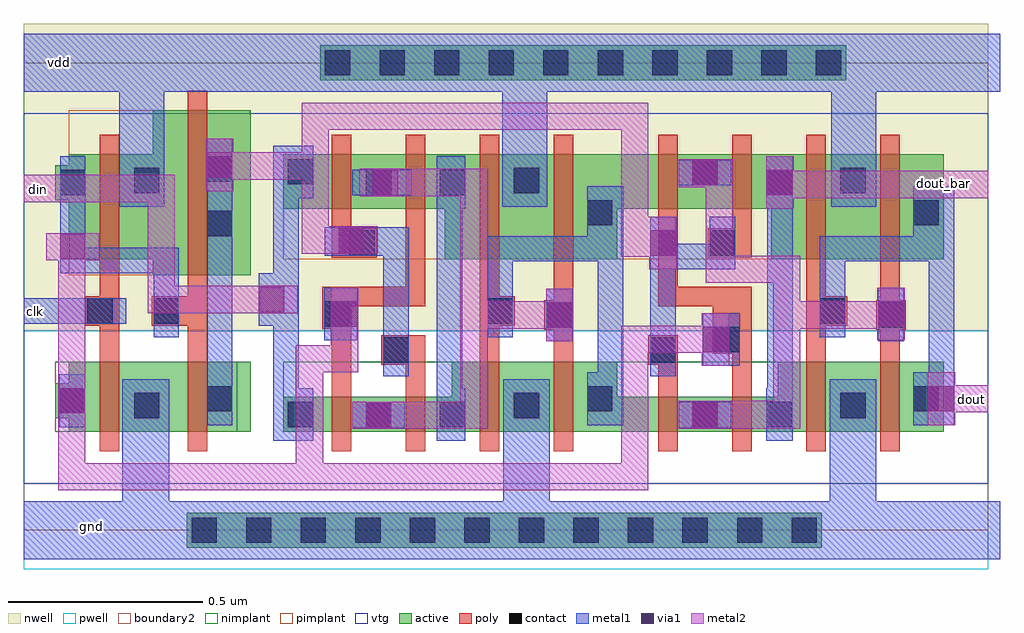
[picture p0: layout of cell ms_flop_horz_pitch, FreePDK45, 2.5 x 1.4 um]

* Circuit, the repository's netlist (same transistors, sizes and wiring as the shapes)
************************************************************************
* auCdl Netlist:
* 
* Library Name:  openram
* Top Cell Name: ms_flop_horz_pitch
* View Name:     schematic
* Netlisted on:  Jan 27 06:03:16 2021
************************************************************************

*.EQUATION
*.SCALE METER
*.MEGA
.PARAM



************************************************************************
* Library Name: openram
* Cell Name:    dlatch_clk_clk_bar_horz
* View Name:    schematic
************************************************************************

.SUBCKT dlatch_clk_clk_bar_horz clk clk_bar din dout dout_bar gnd vdd
MM4 int clk_bar din gnd NMOS_VTG W=90n L=50n m=1
MM2 int clk dout gnd NMOS_VTG W=90n L=50n m=1
MM0 dout dout_bar gnd gnd NMOS_VTG W=180.0n L=50n m=1
MM12 dout_bar int gnd gnd NMOS_VTG W=180.0n L=50n m=1
MM5 int clk din vdd PMOS_VTG W=140.0n L=50n m=1
MM3 int clk_bar dout vdd PMOS_VTG W=140.0n L=50n m=1
MM1 dout dout_bar vdd vdd PMOS_VTG W=270.0n L=50n m=1
MM11 dout_bar int vdd vdd PMOS_VTG W=270.0n L=50n m=1
.ENDS

************************************************************************
* Library Name: openram
* Cell Name:    ms_flop_horz_pitch
* View Name:    schematic
************************************************************************

.SUBCKT ms_flop_horz_pitch din dout dout_bar clk vdd gnd
MM1 clk_buf clk_bar gnd gnd NMOS_VTG W=90n L=50n m=2
MM12 clk_bar clk gnd gnd NMOS_VTG W=90n L=50n m=2
MM0 clk_buf clk_bar vdd vdd PMOS_VTG W=425.00n L=50n m=1
MM11 clk_bar clk vdd vdd PMOS_VTG W=135.00n L=50n m=2
XI1 clk_bar clk_buf mout_bar dout_bar dout gnd vdd / dlatch_clk_clk_bar_horz
XI0 clk_buf clk_bar din mout mout_bar gnd vdd / dlatch_clk_clk_bar_horz
.ENDS

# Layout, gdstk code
from math import pi, radians
import gdstk
lib = gdstk.Library(unit=1e-6, precision=5e-10)
def R(c, l, rs):  # rectangles x0, y0, x1, y1
    for r in rs: c.add(gdstk.rectangle(r[:2], r[2:], *l))
def A(c, l, x, y, w, h, nx, ny, dx, dy):  # array of equal rectangles
    R(c, l, [(x+i*dx, y+j*dy, x+i*dx+w, y+j*dy+h) for i in range(nx) for j in range(ny)])
active = (1, 0)
pwell = (2, 0)
nwell = (3, 0)
nimplant = (4, 0)
pimplant = (5, 0)
vtg = (6, 0)
poly = (9, 0)
contact = (10, 0)
metal1 = (11, 0)
via1 = (12, 0)
metal2 = (13, 0)
boundary2 = (239, 0)

m1_p_cdns_611716631340 = lib.new_cell('M1_P_CDNS_611716631340')
R(m1_p_cdns_611716631340, active, [(-0.045,-0.045,0.045,0.045)])
R(m1_p_cdns_611716631340, pimplant, [(-0.045,-0.045,0.045,0.045)])
R(m1_p_cdns_611716631340, contact, [(-0.0325,-0.0325,0.0325,0.0325)])
R(m1_p_cdns_611716631340, metal1, [(-0.0325,-0.0675,0.0325,0.0675)])

m1_poly_cdns_61171663134 = lib.new_cell('M1_POLY_CDNS_611716631341')
R(m1_poly_cdns_61171663134, poly, [(-0.0375,-0.0375,0.0375,0.0375)])
R(m1_poly_cdns_61171663134, contact, [(-0.0325,-0.0325,0.0325,0.0325)])
R(m1_poly_cdns_61171663134, metal1, [(-0.0325,-0.0675,0.0325,0.0675)])

m1_n_cdns_611716631342 = lib.new_cell('M1_N_CDNS_611716631342')
R(m1_n_cdns_611716631342, active, [(-0.045,-0.045,0.045,0.045)])
R(m1_n_cdns_611716631342, nimplant, [(-0.045,-0.045,0.045,0.045)])
R(m1_n_cdns_611716631342, contact, [(-0.0325,-0.0325,0.0325,0.0325)])
R(m1_n_cdns_611716631342, metal1, [(-0.0325,-0.0675,0.0325,0.0675)])

m2_m1_cdns_611716631343 = lib.new_cell('M2_M1_CDNS_611716631343')
R(m2_m1_cdns_611716631343, metal1, [(-0.0325,-0.0675,0.0325,0.0675)])
R(m2_m1_cdns_611716631343, via1, [(-0.0325,-0.0325,0.0325,0.0325)])
R(m2_m1_cdns_611716631343, metal2, [(-0.0675,-0.035,0.0675,0.035)])

m2_m1_cdns_611716631344 = lib.new_cell('M2_M1_CDNS_611716631344')
R(m2_m1_cdns_611716631344, metal1, [(-0.0325,-0.0675,0.0325,0.0675)])
R(m2_m1_cdns_611716631344, via1, [(-0.0325,-0.0325,0.0325,0.0325)])
R(m2_m1_cdns_611716631344, metal2, [(-0.035,-0.0675,0.035,0.0675)])

m1_p_cdns_611716631345 = lib.new_cell('M1_P_CDNS_611716631345')
R(m1_p_cdns_611716631345, active, [(-0.045,-0.115,0.045,0.115)])
R(m1_p_cdns_611716631345, pimplant, [(-0.045,-0.115,0.045,0.115)])
R(m1_p_cdns_611716631345, contact, [(-0.0325,-0.1025,0.0325,-0.0375), (-0.0325,0.0375,0.0325,0.1025)])
R(m1_p_cdns_611716631345, metal1, [(-0.0325,-0.1375,0.0325,0.1375)])

ntap_cdns_611716631346 = lib.new_cell('NTAP_CDNS_611716631346')
R(ntap_cdns_611716631346, active, [(-0.045,-0.675,0.045,0.675)])
R(ntap_cdns_611716631346, nwell, [(-0.1,-0.73,0.1,0.73)])
R(ntap_cdns_611716631346, nimplant, [(-0.045,-0.675,0.045,0.675)])
A(ntap_cdns_611716631346, contact, -0.0325, -0.6625, 0.065, 0.065, 1, 10, 0, 0.14)
R(ntap_cdns_611716631346, metal1, [(-0.0325,-0.6975,0.0325,0.6975)])

ptap_cdns_611716631347 = lib.new_cell('PTAP_CDNS_611716631347')
R(ptap_cdns_611716631347, active, [(-0.045,-0.815,0.045,0.815)])
R(ptap_cdns_611716631347, pwell, [(-0.1,-0.87,0.1,0.87)])
R(ptap_cdns_611716631347, pimplant, [(-0.045,-0.815,0.045,0.815)])
A(ptap_cdns_611716631347, contact, -0.0325, -0.8025, 0.065, 0.065, 1, 12, 0, 0.14)
R(ptap_cdns_611716631347, metal1, [(-0.0325,-0.8375,0.0325,0.8375)])

ms_flop_horz_pitch = lib.new_cell('ms_flop_horz_pitch')
R(ms_flop_horz_pitch, active, [(0.115,0.2525,0.5825,0.4325), (0.6775,0.2525,1.1425,0.3425), (1.0975,0.2525,1.5225,0.4325), (1.515,0.2525,1.98,0.3425), (1.935,0.2525,2.36,0.4325), (0.33,0.655,0.5825,1.0775), (0.115,0.695,0.5825,0.965), (1.08,0.695,1.5225,0.965), (1.9175,0.695,2.36,0.965), (0.665,0.825,1.155,0.965), (1.5025,0.825,1.9925,0.965)])
R(ms_flop_horz_pitch, pwell, [(0,-0.1,2.475,0.5125)])
R(ms_flop_horz_pitch, nwell, [(0,0.5125,2.475,1.3)])
R(ms_flop_horz_pitch, nimplant, [(0.08,0.2525,0.5475,0.4325), (0.665,0.2525,1.5225,0.4325), (1.5025,0.2525,2.36,0.4325)])
R(ms_flop_horz_pitch, pimplant, [(0.115,0.655,0.5825,1.0775), (0.665,0.695,1.5225,0.965), (1.5025,0.695,2.36,0.965)])
R(ms_flop_horz_pitch, vtg, [(0,0.12,2.475,1.07)])
R(ms_flop_horz_pitch, poly, [(0.195,0.2025,0.245,1.015), (0.42,0.2025,0.47,1.1275), (0.79,0.2025,0.84,0.625), (0.98,0.2025,1.03,0.5), (1.17,0.2025,1.22,1.015), (1.36,0.2025,1.41,1.015), (1.6275,0.2025,1.6775,0.5), (1.8175,0.2025,1.8675,0.6225), (2.0075,0.2025,2.0575,1.015), (2.1975,0.2025,2.2475,1.015), (1.7675,0.4775,1.8425,0.6), (0.3275,0.525,0.45,0.6), (0.765,0.5625,0.84,0.625), (0.7725,0.575,1.03,0.625), (1.6275,0.575,1.8675,0.625), (1.6275,0.6175,1.6775,1.015), (0.98,0.62,1.03,1.015), (0.79,0.7,0.84,1.015), (1.8175,0.7,1.8675,1.015)])
R(ms_flop_horz_pitch, metal1, [(0,-0.075,2.505,0.075), (0.2525,-0.04,0.3725,0.3875), (1.23,-0.04,1.35,0.3875), (2.0675,-0.04,2.1875,0.3875), (0.64,0.23,0.705,0.9875), (1.06,0.23,1.125,0.96), (1.9075,0.23,1.9725,0.96), (0.47,0.27,0.535,0.8825), (1.4725,0.27,1.5375,0.8825), (2.3225,0.27,2.3875,0.8825), (0.9225,0.465,0.9875,0.735), (1.6075,0.465,1.6725,0.735), (1.19,0.495,1.255,0.755), (2.0425,0.495,2.1075,0.755), (0,0.53,0.2375,0.595), (0.3325,0.6275,0.3975,0.725), (0.0925,0.66,0.3775,0.725), (1.6075,0.67,1.825,0.735), (1.23,0.69,1.5375,0.755), (2.0675,0.69,2.375,0.755), (0.7725,0.705,0.9875,0.7775), (0.0925,0.7275,0.1575,0.9575), (0.245,0.83,0.36,1.195), (1.2275,0.83,1.3425,1.195), (2.0725,0.83,2.1875,1.195), (0,1.125,2.505,1.275)])
R(ms_flop_horz_pitch, metal2, [(0.0875,0.1025,1.6025,0.1725), (0.0875,0.1125,0.1575,0.365), (1.5325,0.1125,1.6025,0.4825), (0.6975,0.155,0.7675,0.42), (0.91,0.26,1.1575,0.33), (1.12,0.26,1.19,0.5875), (1.68,0.26,1.9925,0.3325), (1.9225,0.26,1.9925,0.6625), (0.0875,0.3,0.1575,0.7625), (2.32,0.3025,2.475,0.3725), (0.6975,0.405,0.8575,0.475), (0.7875,0.4075,0.8575,0.6225), (1.5325,0.455,1.8075,0.525), (1.12,0.5175,1.19,0.9275), (1.145,0.5175,1.405,0.5875), (1.9725,0.5175,2.26,0.5875), (0.3175,0.5575,0.3875,0.9125), (0.3175,0.5575,0.625,0.6275), (1.75,0.635,1.9925,0.705), (1.75,0.635,1.82,0.9525), (1.5325,0.7025,1.675,0.7725), (1.5325,0.7025,1.675,0.805), (1.5325,0.705,1.6025,1.075), (0.7125,0.71,0.9075,0.78), (0.7125,0.71,0.7825,1.0925), (0,0.8425,0.3875,0.9125), (1.905,0.8525,2.475,0.9225), (0.985,0.8575,1.19,0.9275), (1.68,0.88,1.82,0.9525), (0.4875,0.9,0.7425,0.97), (0.7125,1.0275,1.6025,1.0975)])
R(ms_flop_horz_pitch, boundary2, [(0,0,2.475,1.2)])
ms_flop_horz_pitch.add(gdstk.FlexPath([(1.7925,0.7375),(1.7925,0.735)], 0.065, ends="flush", simple_path=True, layer=11, datatype=0))  # metal1
ms_flop_horz_pitch.add(gdstk.Reference(m1_p_cdns_611716631340, (1.29,0.8975), rotation=pi, x_reflection=True))
ms_flop_horz_pitch.add(gdstk.Reference(m1_p_cdns_611716631340, (1.4775,0.815), rotation=pi, x_reflection=True))
ms_flop_horz_pitch.add(gdstk.Reference(m1_p_cdns_611716631340, (1.9375,0.8925), x_reflection=True))
ms_flop_horz_pitch.add(gdstk.Reference(m1_p_cdns_611716631340, (2.1275,0.8975), rotation=pi, x_reflection=True))
ms_flop_horz_pitch.add(gdstk.Reference(m1_p_cdns_611716631340, (0.125,0.8925), x_reflection=True))
ms_flop_horz_pitch.add(gdstk.Reference(m1_p_cdns_611716631340, (2.315,0.815), rotation=pi, x_reflection=True))
ms_flop_horz_pitch.add(gdstk.Reference(m1_p_cdns_611716631340, (1.7475,0.9175), rotation=3*pi/2, x_reflection=True))
ms_flop_horz_pitch.add(gdstk.Reference(m1_p_cdns_611716631340, (0.91,0.8925), rotation=3*pi/2, x_reflection=True))
ms_flop_horz_pitch.add(gdstk.Reference(m1_p_cdns_611716631340, (0.71,0.92), x_reflection=True))
ms_flop_horz_pitch.add(gdstk.Reference(m1_p_cdns_611716631340, (1.1,0.8925), x_reflection=True))
ms_flop_horz_pitch.add(gdstk.Reference(m1_p_cdns_611716631340, (0.315,0.8975), rotation=pi, x_reflection=True))
ms_flop_horz_pitch.add(gdstk.Reference(m1_poly_cdns_61171663134, (1.3725,0.5525), rotation=pi, x_reflection=True))
ms_flop_horz_pitch.add(gdstk.Reference(m1_poly_cdns_61171663134, (1.2225,0.5625), rotation=pi, x_reflection=True))
ms_flop_horz_pitch.add(gdstk.Reference(m1_poly_cdns_61171663134, (1.64,0.4625), rotation=pi, x_reflection=True))
ms_flop_horz_pitch.add(gdstk.Reference(m1_poly_cdns_61171663134, (1.7925,0.7375), x_reflection=True))
ms_flop_horz_pitch.add(gdstk.Reference(m1_poly_cdns_61171663134, (1.805,0.49), rotation=pi, x_reflection=True))
ms_flop_horz_pitch.add(gdstk.Reference(m1_poly_cdns_61171663134, (0.8675,0.7375), rotation=pi/2, x_reflection=True))
ms_flop_horz_pitch.add(gdstk.Reference(m1_poly_cdns_61171663134, (0.955,0.4625), rotation=pi, x_reflection=True))
ms_flop_horz_pitch.add(gdstk.Reference(m1_poly_cdns_61171663134, (2.075,0.5625), rotation=pi, x_reflection=True))
ms_flop_horz_pitch.add(gdstk.Reference(m1_poly_cdns_61171663134, (0.365,0.5625), rotation=pi, x_reflection=True))
ms_flop_horz_pitch.add(gdstk.Reference(m1_poly_cdns_61171663134, (0.195,0.5625), rotation=pi/2, x_reflection=True))
ms_flop_horz_pitch.add(gdstk.Reference(m1_poly_cdns_61171663134, (0.8025,0.555), rotation=pi, x_reflection=True))
ms_flop_horz_pitch.add(gdstk.Reference(m1_poly_cdns_61171663134, (2.225,0.5525), rotation=pi, x_reflection=True))
ms_flop_horz_pitch.add(gdstk.Reference(m1_n_cdns_611716631342, (1.4775,0.3375), x_reflection=True))
ms_flop_horz_pitch.add(gdstk.Reference(m1_n_cdns_611716631342, (2.1275,0.32), x_reflection=True))
ms_flop_horz_pitch.add(gdstk.Reference(m1_n_cdns_611716631342, (0.5025,0.3375), x_reflection=True))
ms_flop_horz_pitch.add(gdstk.Reference(m1_n_cdns_611716631342, (0.315,0.32), x_reflection=True))
ms_flop_horz_pitch.add(gdstk.Reference(m1_n_cdns_611716631342, (1.29,0.32), x_reflection=True))
ms_flop_horz_pitch.add(gdstk.Reference(m1_n_cdns_611716631342, (2.315,0.3375), x_reflection=True))
ms_flop_horz_pitch.add(gdstk.Reference(m1_n_cdns_611716631342, (1.7475,0.2975), rotation=pi/2))
ms_flop_horz_pitch.add(gdstk.Reference(m1_n_cdns_611716631342, (0.125,0.3325), rotation=pi))
ms_flop_horz_pitch.add(gdstk.Reference(m1_n_cdns_611716631342, (1.9375,0.2975), rotation=pi))
ms_flop_horz_pitch.add(gdstk.Reference(m1_n_cdns_611716631342, (1.1,0.2975), rotation=pi))
ms_flop_horz_pitch.add(gdstk.Reference(m1_n_cdns_611716631342, (0.71,0.2975), rotation=pi))
ms_flop_horz_pitch.add(gdstk.Reference(m1_n_cdns_611716631342, (0.91,0.2975), rotation=pi/2))
ms_flop_horz_pitch.add(gdstk.Reference(m2_m1_cdns_611716631343, (0.635,0.5925)))
ms_flop_horz_pitch.add(gdstk.Reference(m2_m1_cdns_611716631343, (0.125,0.7275)))
ms_flop_horz_pitch.add(gdstk.Reference(m2_m1_cdns_611716631344, (2.355,0.3375)))
ms_flop_horz_pitch.add(gdstk.Reference(m2_m1_cdns_611716631344, (1.64,0.7375)))
ms_flop_horz_pitch.add(gdstk.Reference(m2_m1_cdns_611716631344, (0.1225,0.3325)))
ms_flop_horz_pitch.add(gdstk.Reference(m2_m1_cdns_611716631344, (1.7475,0.295), rotation=pi/2))
ms_flop_horz_pitch.add(gdstk.Reference(m2_m1_cdns_611716631344, (2.225,0.555)))
ms_flop_horz_pitch.add(gdstk.Reference(m2_m1_cdns_611716631344, (0.5025,0.9375)))
ms_flop_horz_pitch.add(gdstk.Reference(m2_m1_cdns_611716631344, (0.84,0.745), rotation=pi/2))
ms_flop_horz_pitch.add(gdstk.Reference(m2_m1_cdns_611716631344, (0.91,0.295), rotation=pi/2))
ms_flop_horz_pitch.add(gdstk.Reference(m2_m1_cdns_611716631344, (0.9275,0.8925), rotation=pi/2))
ms_flop_horz_pitch.add(gdstk.Reference(m2_m1_cdns_611716631344, (1.375,0.5525)))
ms_flop_horz_pitch.add(gdstk.Reference(m2_m1_cdns_611716631344, (0.8225,0.555)))
ms_flop_horz_pitch.add(gdstk.Reference(m2_m1_cdns_611716631344, (1.94,0.8925)))
ms_flop_horz_pitch.add(gdstk.Reference(m2_m1_cdns_611716631344, (1.7475,0.9175), rotation=pi/2))
ms_flop_horz_pitch.add(gdstk.Reference(m2_m1_cdns_611716631344, (1.775,0.49)))
ms_flop_horz_pitch.add(gdstk.Reference(m1_p_cdns_611716631345, (0.5025,0.8575), rotation=pi, x_reflection=True))
ms_flop_horz_pitch.add(gdstk.Reference(ntap_cdns_611716631346, (1.435,1.2), rotation=pi/2))
ms_flop_horz_pitch.add(gdstk.Reference(ptap_cdns_611716631347, (1.2325,0), rotation=pi/2))
ms_flop_horz_pitch.add(gdstk.Label('gnd', (0.1725,0.01), layer=11, texttype=0))
ms_flop_horz_pitch.add(gdstk.Label('clk', (0.03,0.5625), layer=11, texttype=0))
ms_flop_horz_pitch.add(gdstk.Label('vdd', (0.09,1.2), layer=11, texttype=0))
ms_flop_horz_pitch.add(gdstk.Label('dout', (2.4325,0.335), layer=13, texttype=0))
ms_flop_horz_pitch.add(gdstk.Label('din', (0.0375,0.875), layer=13, texttype=0))
ms_flop_horz_pitch.add(gdstk.Label('dout_bar', (2.36,0.89), layer=13, texttype=0))

lib.write_gds('ms_flop_horz_pitch.gds')
